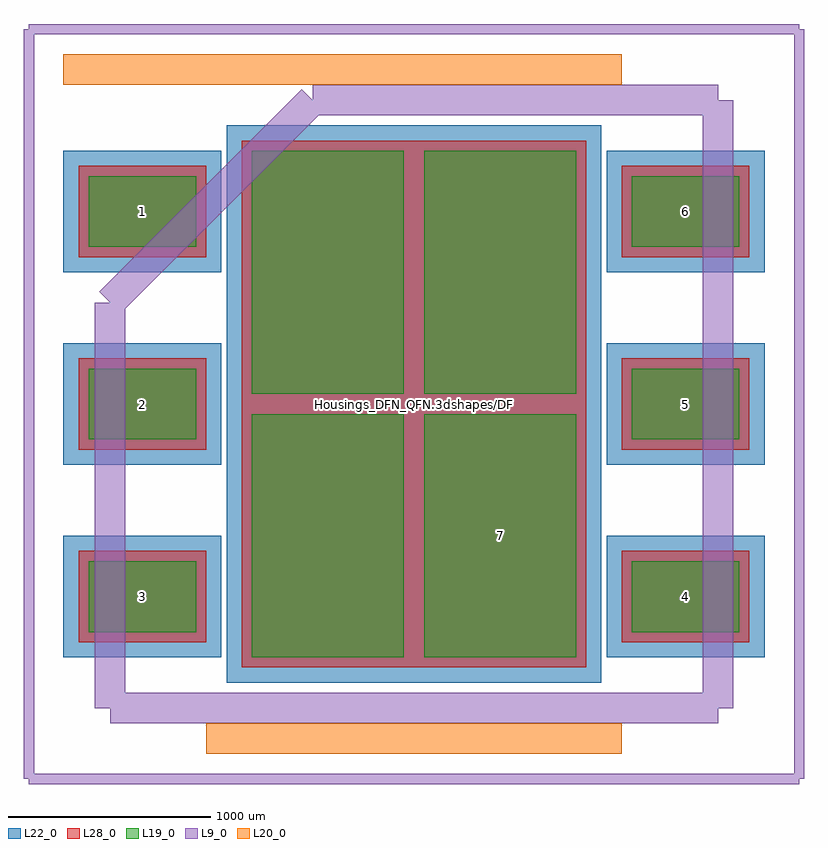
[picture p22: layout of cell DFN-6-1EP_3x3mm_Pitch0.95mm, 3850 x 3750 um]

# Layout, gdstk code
import gdstk
lib = gdstk.Library(unit=1e-6, precision=1e-09)
def R(c, l, rs):  # rectangles x0, y0, x1, y1
    for r in rs: c.add(gdstk.rectangle(r[:2], r[2:], *l))
def A(c, l, x, y, w, h, nx, ny, dx, dy):  # array of equal rectangles
    R(c, l, [(x+i*dx, y+j*dy, x+i*dx+w, y+j*dy+h) for i in range(nx) for j in range(ny)])
L9_0 = (9, 0)
L19_0 = (19, 0)
L20_0 = (20, 0)
L22_0 = (22, 0)
L28_0 = (28, 0)

dfn_6_1ep_3x3mm_pitch0_9 = lib.new_cell('DFN-6-1EP_3x3mm_Pitch0.95mm')
A(dfn_6_1ep_3x3mm_pitch0_9, L19_0, -1605, -1125, 530, 350, 1, 3, 0, 950)
A(dfn_6_1ep_3x3mm_pitch0_9, L19_0, 1075, -1125, 530, 350, 1, 3, 0, 950)
R(dfn_6_1ep_3x3mm_pitch0_9, L19_0, [(-800,-1250,-50,-50), (50,-1250,800,-50), (-800,50,-50,1250), (50,50,800,1250)])
A(dfn_6_1ep_3x3mm_pitch0_9, L22_0, -1730, -1250, 780, 600, 1, 3, 0, 950)
A(dfn_6_1ep_3x3mm_pitch0_9, L22_0, 950, -1250, 780, 600, 1, 3, 0, 950)
R(dfn_6_1ep_3x3mm_pitch0_9, L22_0, [(-925,-1375,75,75), (-75,-1375,925,75), (-925,-75,75,1375), (-75,-75,925,1375)])
A(dfn_6_1ep_3x3mm_pitch0_9, L28_0, -1655, -1175, 630, 450, 1, 3, 0, 950)
A(dfn_6_1ep_3x3mm_pitch0_9, L28_0, 1025, -1175, 630, 450, 1, 3, 0, 950)
R(dfn_6_1ep_3x3mm_pitch0_9, L28_0, [(-850,-1300,0,0), (0,-1300,850,0), (-850,0,0,1300), (0,0,850,1300)])
dfn_6_1ep_3x3mm_pitch0_9.add(gdstk.FlexPath([(-1730,1650),(1025,1650)], 149.998, ends="flush", simple_path=True, layer=20, datatype=0))  # L20_0
dfn_6_1ep_3x3mm_pitch0_9.add(gdstk.FlexPath([(-1025,-1650),(1025,-1650)], 149.998, ends="flush", simple_path=True, layer=20, datatype=0))  # L20_0
dfn_6_1ep_3x3mm_pitch0_9.add(gdstk.FlexPath([(-1900,-1850),(1900,-1850)], 50, ends="flush", simple_path=True, layer=9, datatype=0))  # L9_0
dfn_6_1ep_3x3mm_pitch0_9.add(gdstk.FlexPath([(-1900,1850),(1900,1850)], 50, ends="flush", simple_path=True, layer=9, datatype=0))  # L9_0
dfn_6_1ep_3x3mm_pitch0_9.add(gdstk.FlexPath([(1900,1850),(1900,-1850)], 50, ends="flush", simple_path=True, layer=9, datatype=0))  # L9_0
dfn_6_1ep_3x3mm_pitch0_9.add(gdstk.FlexPath([(-1900,1850),(-1900,-1850)], 50, ends="flush", simple_path=True, layer=9, datatype=0))  # L9_0
dfn_6_1ep_3x3mm_pitch0_9.add(gdstk.FlexPath([(-1500,500),(-500,1500)], 149.998, ends="flush", simple_path=True, layer=9, datatype=0))  # L9_0
dfn_6_1ep_3x3mm_pitch0_9.add(gdstk.FlexPath([(-1500,-1500),(-1500,500)], 149.998, ends="flush", simple_path=True, layer=9, datatype=0))  # L9_0
dfn_6_1ep_3x3mm_pitch0_9.add(gdstk.FlexPath([(1500,-1500),(-1500,-1500)], 149.998, ends="flush", simple_path=True, layer=9, datatype=0))  # L9_0
dfn_6_1ep_3x3mm_pitch0_9.add(gdstk.FlexPath([(1500,1500),(1500,-1500)], 149.998, ends="flush", simple_path=True, layer=9, datatype=0))  # L9_0
dfn_6_1ep_3x3mm_pitch0_9.add(gdstk.FlexPath([(-500,1500),(1500,1500)], 149.998, ends="flush", simple_path=True, layer=9, datatype=0))  # L9_0
dfn_6_1ep_3x3mm_pitch0_9.add(gdstk.Label('Housings_DFN_QFN.3dshapes/DFN-6-1EP_3x3mm_Pitch0.95mm.wrl', (0,0), layer=12, texttype=0))
dfn_6_1ep_3x3mm_pitch0_9.add(gdstk.Label('7', (425,-650), layer=28, texttype=0))
dfn_6_1ep_3x3mm_pitch0_9.add(gdstk.Label('6', (1340,950), layer=28, texttype=0))
dfn_6_1ep_3x3mm_pitch0_9.add(gdstk.Label('5', (1340,0), layer=28, texttype=0))
dfn_6_1ep_3x3mm_pitch0_9.add(gdstk.Label('4', (1340,-950), layer=28, texttype=0))
dfn_6_1ep_3x3mm_pitch0_9.add(gdstk.Label('3', (-1340,-950), layer=28, texttype=0))
dfn_6_1ep_3x3mm_pitch0_9.add(gdstk.Label('2', (-1340,0), layer=28, texttype=0))
dfn_6_1ep_3x3mm_pitch0_9.add(gdstk.Label('1', (-1340,950), layer=28, texttype=0))
dfn_6_1ep_3x3mm_pitch0_9.add(gdstk.Label('type', (0,-2575), layer=9, texttype=0))
dfn_6_1ep_3x3mm_pitch0_9.add(gdstk.Label('devicename', (0,2575), layer=9, texttype=0))

lib.write_gds('DFN-6-1EP_3x3mm_Pitch0.95mm.gds')
